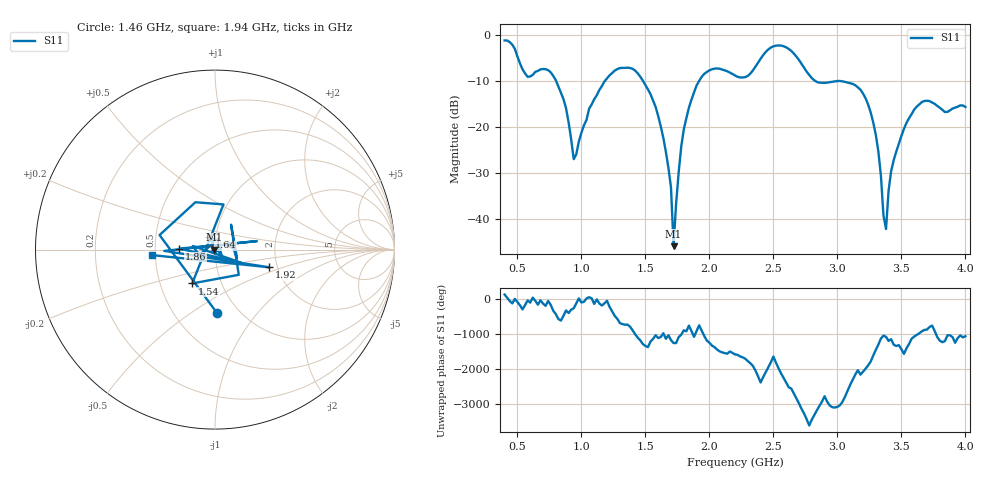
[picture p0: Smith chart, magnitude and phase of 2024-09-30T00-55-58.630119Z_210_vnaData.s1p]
!Created with skrf (http://scikit-rf.org).
# Hz S RI R 50.0
!freq ReS11 ImS11
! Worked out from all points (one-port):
!   181 points, 400 MHz to 4 GHz, reference 50 ohm
!   lowest |S11| = -45.9 dB at 1.72 GHz (marker M1), VSWR 1.01, Z = 49.5 - j0.124 ohm
!   |S11| at or under -10 dB: 802.6 MHz to 1.183 GHz (380.5 MHz wide, 38.3 % of centre); 1.482 GHz to 1.919 GHz (437.6 MHz wide, 25.7 % of centre); 3.021 GHz to end of sweep (the widest 3 of 4)
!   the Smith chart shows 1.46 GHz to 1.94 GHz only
!   S11 on the Smith chart (normalised r, x): 1.46 GHz: 0.79, -0.64; 1.54 GHz: 0.73, -0.29; 1.64 GHz: 0.93, +0.13; 1.86 GHz: 0.67, +0.01; 1.92 GHz: 1.81, -0.40; 1.94 GHz: 0.48, -0.03
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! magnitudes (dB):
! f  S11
! 400 MHz  -1.2
! 580 MHz  -9.1
! 760 MHz  -8.1
! 860 MHz  -13.9
! 940 MHz  -27.0
! 1.06 GHz  -16.0
! 1.3 GHz  -7.2
! 1.46 GHz  -9.1
! 1.54 GHz  -12.9
! 1.64 GHz  -22.3
! 1.7 GHz  -33.2
! 1.72 GHz  -45.9
! 1.76 GHz  -29.8
! 1.8 GHz  -20.5
! 1.86 GHz  -14.0
! 1.92 GHz  -10.0
! 1.94 GHz  -9.1
! 2.2 GHz  -8.8
! 2.5 GHz  -2.5
! 2.66 GHz  -4.0
! 2.84 GHz  -10.2
! 3.1 GHz  -10.5
! 3.28 GHz  -19.0
! 3.38 GHz  -42.2
! 3.42 GHz  -29.6
! 3.56 GHz  -18.1
! 3.68 GHz  -14.3
! 4 GHz  -15.7
